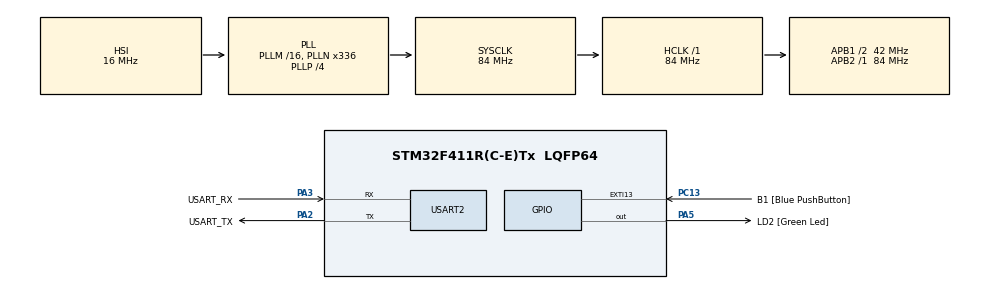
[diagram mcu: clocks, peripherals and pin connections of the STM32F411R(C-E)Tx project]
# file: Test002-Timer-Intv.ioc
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Mcu.Family=STM32F4
Mcu.Name=STM32F411R(C-E)Tx
Mcu.Package=LQFP64
NVIC.PriorityGroup=NVIC_PRIORITYGROUP_0
NVIC.TIM3_IRQn=true\:0\:0\:false\:false\:true\:true\:true\:true
PA13.GPIO_Label=TMS
PA13.Mode=Serial_Wire
PA13.Signal=SYS_JTMS-SWDIO
PA14.GPIO_Label=TCK
PA14.Mode=Serial_Wire
PA14.Signal=SYS_JTCK-SWCLK
PA2.GPIO_Label=USART_TX
PA2.Mode=Asynchronous
PA2.Signal=USART2_TX
PA3.GPIO_Label=USART_RX
PA3.Mode=Asynchronous
PA3.Signal=USART2_RX
PA5.GPIO_Label=LD2 [Green Led]
PA5.Signal=GPIO_Output
PB3.GPIO_Label=SWO
PB3.Signal=SYS_JTDO-SWO
PC13-ANTI_TAMP.GPIO_Label=B1 [Blue PushButton]
PC13-ANTI_TAMP.GPIO_ModeDefaultEXTI=GPIO_MODE_IT_FALLING
PC13-ANTI_TAMP.Signal=GPXTI13
PC14-OSC32_IN.Mode=LSE-External-Oscillator
PC14-OSC32_IN.Signal=RCC_OSC32_IN
PC15-OSC32_OUT.Mode=LSE-External-Oscillator
PC15-OSC32_OUT.Signal=RCC_OSC32_OUT
PH0\ -\ OSC_IN.Mode=HSE-External-Clock-Source
PH0\ -\ OSC_IN.Signal=RCC_OSC_IN
PH1\ -\ OSC_OUT.Mode=HSE-External-Clock-Source
PH1\ -\ OSC_OUT.Signal=RCC_OSC_OUT
ProjectManager.HeapSize=0x200
ProjectManager.StackSize=0x400
ProjectManager.TargetToolchain=STM32CubeIDE
RCC.48MHZClocksFreq_Value=84000000
RCC.AHBFreq_Value=84000000
RCC.APB1CLKDivider=RCC_HCLK_DIV2
RCC.APB1Freq_Value=42000000
RCC.APB1TimFreq_Value=84000000
RCC.APB2Freq_Value=84000000
RCC.APB2TimFreq_Value=84000000
RCC.CortexFreq_Value=84000000
RCC.FLatency-AdvancedSettings=FLASH_LATENCY_2
RCC.HCLKFreq_Value=84000000
RCC.HSE_VALUE=8000000
RCC.HSI_VALUE=16000000
RCC.PLLN=336
RCC.PLLP=RCC_PLLP_DIV4
RCC.SYSCLKFreq_VALUE=84000000
RCC.SYSCLKSource=RCC_SYSCLKSOURCE_PLLCLK
RCC.VCOOutputFreq_Value=336000000
TIM3.Period=10000-1
TIM3.Prescaler=8400-1
USART2.VirtualMode=VM_ASYNC
VP_TIM3_VS_ClockSourceINT.Mode=Internal
board=NUCLEO-F411RE

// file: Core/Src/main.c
/* USER CODE BEGIN Header */
/**
  ******************************************************************************
  * @file           : main.c
  * @brief          : Main program body
  ******************************************************************************
  * @attention
  *
  * Copyright (c) 2025 STMicroelectronics.
  * All rights reserved.
  *
  * This software is licensed under terms that can be found in the LICENSE file
  * in the root directory of this software component.
  * If no LICENSE file comes with this software, it is provided AS-IS.
  *
  ******************************************************************************
  */
/* USER CODE END Header */
#include "main.h"

TIM_HandleTypeDef htim3;

UART_HandleTypeDef huart2;

void SystemClock_Config(void);
static void MX_GPIO_Init(void);
static void MX_USART2_UART_Init(void);
static void MX_TIM3_Init(void);

/* USER CODE BEGIN 0 */
int yy = 2025, mm = 1, dd = 16, h = 23, m = 59, s = 55;
void HAL_TIM_PeriodElapsedCallback(TIM_HandleTypeDef *htim) {
	s++;
	if(s > 59) {
		m++;
		s = 0;
		if(m > 59) {
			h++;
			m = 0;
			if(h > 23) {
				dd++;
				h = 0;
			}
		}
	}
}
/* USER CODE END 0 */

int main(void)
{

  /* MCU Configuration--------------------------------------------------------*/

  /* Reset of all peripherals, Initializes the Flash interface and the Systick. */
  HAL_Init();

  /* Configure the system clock */
  SystemClock_Config();

  /* Initialize all configured peripherals */
  MX_GPIO_Init();
  MX_USART2_UART_Init();
  MX_TIM3_Init();
  /* USER CODE BEGIN 2 */
  HAL_TIM_Base_Start_IT(&htim3);
  ProgramStart("Timer - Clock");
  /* USER CODE END 2 */

  /* Infinite loop */
  /* USER CODE BEGIN WHILE */
  while (1)
  {
	  Cursor(30, 10);
	  printf("%04d/%02d/%02d-%02d:%02d:%02d", yy, mm, dd, h, m, s);
    /* USER CODE END WHILE */

  }
}

void SystemClock_Config(void)
{
  RCC_OscInitTypeDef RCC_OscInitStruct = {0};
  RCC_ClkInitTypeDef RCC_ClkInitStruct = {0};

  /** Configure the main internal regulator output voltage
  */
  __HAL_RCC_PWR_CLK_ENABLE();
  __HAL_PWR_VOLTAGESCALING_CONFIG(PWR_REGULATOR_VOLTAGE_SCALE1);

  /** Initializes the RCC Oscillators according to the specified parameters
  * in the RCC_OscInitTypeDef structure.
  */
  RCC_OscInitStruct.OscillatorType = RCC_OSCILLATORTYPE_HSI;
  RCC_OscInitStruct.HSIState = RCC_HSI_ON;
  RCC_OscInitStruct.HSICalibrationValue = RCC_HSICALIBRATION_DEFAULT;
  RCC_OscInitStruct.PLL.PLLState = RCC_PLL_ON;
  RCC_OscInitStruct.PLL.PLLSource = RCC_PLLSOURCE_HSI;
  RCC_OscInitStruct.PLL.PLLM = 16;
  RCC_OscInitStruct.PLL.PLLN = 336;
  RCC_OscInitStruct.PLL.PLLP = RCC_PLLP_DIV4;
  RCC_OscInitStruct.PLL.PLLQ = 4;
  if (HAL_RCC_OscConfig(&RCC_OscInitStruct) != HAL_OK)
  {
    Error_Handler();
  }

  /** Initializes the CPU, AHB and APB buses clocks
  */
  RCC_ClkInitStruct.ClockType = RCC_CLOCKTYPE_HCLK|RCC_CLOCKTYPE_SYSCLK
                              |RCC_CLOCKTYPE_PCLK1|RCC_CLOCKTYPE_PCLK2;
  RCC_ClkInitStruct.SYSCLKSource = RCC_SYSCLKSOURCE_PLLCLK;
  RCC_ClkInitStruct.AHBCLKDivider = RCC_SYSCLK_DIV1;
  RCC_ClkInitStruct.APB1CLKDivider = RCC_HCLK_DIV2;
  RCC_ClkInitStruct.APB2CLKDivider = RCC_HCLK_DIV1;

  if (HAL_RCC_ClockConfig(&RCC_ClkInitStruct, FLASH_LATENCY_2) != HAL_OK)
  {
    Error_Handler();
  }
}

static void MX_TIM3_Init(void)
{

  TIM_ClockConfigTypeDef sClockSourceConfig = {0};
  TIM_MasterConfigTypeDef sMasterConfig = {0};

  htim3.Instance = TIM3;
  htim3.Init.Prescaler = 8400-1;
  htim3.Init.CounterMode = TIM_COUNTERMODE_UP;
  htim3.Init.Period = 10000-1;
  htim3.Init.ClockDivision = TIM_CLOCKDIVISION_DIV1;
  htim3.Init.AutoReloadPreload = TIM_AUTORELOAD_PRELOAD_DISABLE;
  if (HAL_TIM_Base_Init(&htim3) != HAL_OK)
  {
    Error_Handler();
  }
  sClockSourceConfig.ClockSource = TIM_CLOCKSOURCE_INTERNAL;
  if (HAL_TIM_ConfigClockSource(&htim3, &sClockSourceConfig) != HAL_OK)
  {
    Error_Handler();
  }
  sMasterConfig.MasterOutputTrigger = TIM_TRGO_RESET;
  sMasterConfig.MasterSlaveMode = TIM_MASTERSLAVEMODE_DISABLE;
  if (HAL_TIMEx_MasterConfigSynchronization(&htim3, &sMasterConfig) != HAL_OK)
  {
    Error_Handler();
  }

}

static void MX_USART2_UART_Init(void)
{

  huart2.Instance = USART2;
  huart2.Init.BaudRate = 115200;
  huart2.Init.WordLength = UART_WORDLENGTH_8B;
  huart2.Init.StopBits = UART_STOPBITS_1;
  huart2.Init.Parity = UART_PARITY_NONE;
  huart2.Init.Mode = UART_MODE_TX_RX;
  huart2.Init.HwFlowCtl = UART_HWCONTROL_NONE;
  huart2.Init.OverSampling = UART_OVERSAMPLING_16;
  if (HAL_UART_Init(&huart2) != HAL_OK)
  {
    Error_Handler();
  }

}

static void MX_GPIO_Init(void)
{
  GPIO_InitTypeDef GPIO_InitStruct = {0};

  /* GPIO Ports Clock Enable */
  __HAL_RCC_GPIOC_CLK_ENABLE();
  __HAL_RCC_GPIOH_CLK_ENABLE();
  __HAL_RCC_GPIOA_CLK_ENABLE();
  __HAL_RCC_GPIOB_CLK_ENABLE();

  /*Configure GPIO pin Output Level */
  HAL_GPIO_WritePin(LD2_GPIO_Port, LD2_Pin, GPIO_PIN_RESET);

  /*Configure GPIO pin : B1_Pin */
  GPIO_InitStruct.Pin = B1_Pin;
  GPIO_InitStruct.Mode = GPIO_MODE_IT_FALLING;
  GPIO_InitStruct.Pull = GPIO_NOPULL;
  HAL_GPIO_Init(B1_GPIO_Port, &GPIO_InitStruct);

  /*Configure GPIO pin : LD2_Pin */
  GPIO_InitStruct.Pin = LD2_Pin;
  GPIO_InitStruct.Mode = GPIO_MODE_OUTPUT_PP;
  GPIO_InitStruct.Pull = GPIO_NOPULL;
  GPIO_InitStruct.Speed = GPIO_SPEED_FREQ_LOW;
  HAL_GPIO_Init(LD2_GPIO_Port, &GPIO_InitStruct);

}

void Error_Handler(void)
{
  __disable_irq();
  while (1)
  {
  }
}
